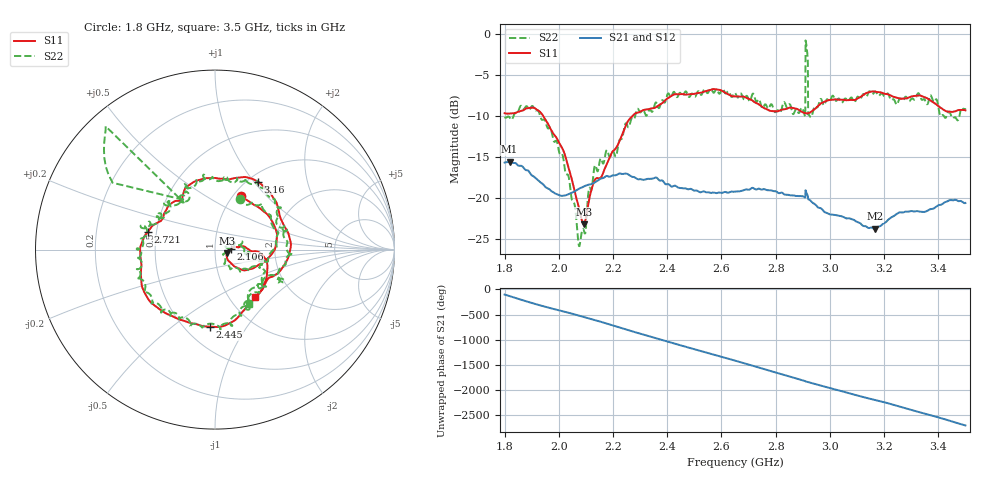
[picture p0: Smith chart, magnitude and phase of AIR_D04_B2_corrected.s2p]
! Created with skrf 1.9.0 (http://scikit-rf.org).
# Hz S RI R 50.0
!freq ReS11 ImS11 ReS21 ImS21 ReS12 ImS12 ReS22 ImS22
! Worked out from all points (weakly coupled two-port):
!   1601 points, 1.8 GHz to 3.5 GHz, reference 50 ohm
!   highest |S21| = -15.57 dB at 1.818 GHz (marker M1); lowest = -23.7 dB at 3.165 GHz (marker M2)
!   lowest |S11| = -23.2 dB at 2.092 GHz (marker M3), VSWR 1.15, Z = 57 - j2.38 ohm
!   |S11| at or under -10 dB: 1.943 GHz to 2.271 GHz (328 MHz wide, 15.6 % of centre)
!   |S22| runs from -25.9 to -0.7 dB; largest |S21 - S12| = 0.0028
!   S11 on the Smith chart (normalised r, x): 1.8 GHz: 1.09, +0.72; 2.106 GHz: 1.19, +0.01; 2.445 GHz: 0.66, -0.69; 2.721 GHz: 0.45, +0.10; 3.16 GHz: 1.11, +1.05; 3.5 GHz: 1.30, -0.78
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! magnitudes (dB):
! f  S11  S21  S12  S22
! 1.8 GHz  -9.6  -15.7  -15.7  -10.1
! 1.818 GHz  -9.7  -15.6  -15.6  -10.1
! 1.903 GHz  -9.0  -17.3  -17.3  -8.7
! 1.968 GHz  -11.4  -19.0  -19.0  -11.4
! 2.021 GHz  -14.6  -19.7  -19.7  -16.2
! 2.073 GHz  -21.0  -18.9  -18.9  -25.7
! 2.084 GHz  -22.6  -18.7  -18.7  -24.3
! 2.092 GHz  -23.2  -18.6  -18.6  -23.9
! 2.106 GHz  -21.3  -18.4  -18.4  -20.5
! 2.134 GHz  -17.8  -18.1  -18.0  -16.0
! 2.258 GHz  -10.5  -17.1  -17.1  -11.3
! 2.367 GHz  -8.7  -17.7  -17.7  -9.0
! 2.445 GHz  -7.3  -18.8  -18.7  -7.2
! 2.65 GHz  -7.6  -19.2  -19.2  -7.1
! 2.721 GHz  -8.3  -18.9  -18.8  -7.6
! 2.901 GHz  -9.5  -19.8  -19.8  -9.2
! 2.91 GHz  -9.6  -19.0  -19.0  -0.7
! 2.934 GHz  -9.4  -20.5  -20.5  -9.9
! 3.16 GHz  -7.0  -23.7  -23.6  -7.3
! 3.165 GHz  -7.0  -23.7  -23.7  -7.0
! 3.217 GHz  -7.4  -22.6  -22.5  -7.4
! 3.5 GHz  -9.3  -20.6  -20.6  -9.0
